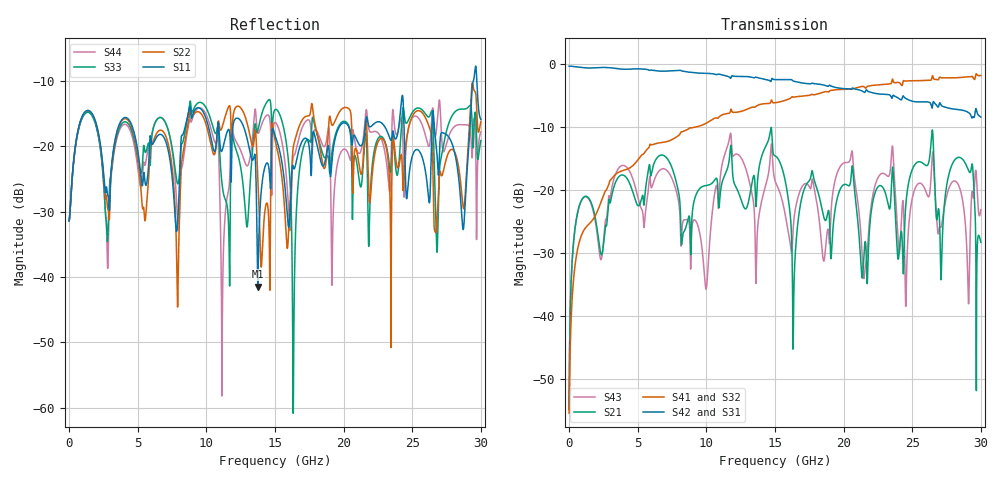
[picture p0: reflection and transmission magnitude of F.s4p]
!MTL model of F, calibrated on full-wave A (medium)
# Hz S RI R 50.0
!freq ReS11 ImS11 ReS12 ImS12 ReS13 ImS13
! ReS14 ImS14
! ReS21 ImS21 ReS22 ImS22 ReS23 ImS23
! ReS24 ImS24
! ReS31 ImS31 ReS32 ImS32 ReS33 ImS33
! ReS34 ImS34
! ReS41 ImS41 ReS42 ImS42 ReS43 ImS43
! ReS44 ImS44
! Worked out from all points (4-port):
!   3000 points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, 10 MHz to 30 GHz, reference 50 ohm
!   strongest paths, dB at 10 MHz, 7.51 GHz, 15.01 GHz, 22.51 GHz, 30 GHz:
!     S42: -0.4, -1.1, -2.5, -4.8, -8.5
!     S31: -0.4, -1.1, -2.6, -4.8, -8.4
!     S41: -55.4, -12.0, -6.2, -3.4, -1.9
!     S32: -55.4, -12.2, -6.3, -3.3, -1.9
!     S21: -54.9, -16.6, -14.6, -19.5, -28.3
!     S43: -54.8, -18.3, -18.6, -18.1, -23.2
!   lowest |S11| = -41.5 dB at 13.75 GHz (marker M1), VSWR 1.02, Z = 49.4 + j0.56 ohm
!   |S11| at or under -10 dB: start of sweep to 29.45 GHz; 29.7 GHz to end of sweep
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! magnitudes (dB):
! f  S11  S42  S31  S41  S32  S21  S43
! 10 MHz  -31.4  -0.4  -0.4  -55.4  -55.4  -54.9  -54.8
! 3.76 GHz  -16.2  -0.9  -0.9  -17.1  -17.0  -17.7  -16.3
! 11.18 GHz  -20.5  -1.8  -1.8  -8.1  -8.3  -18.6  -15.7
! 13.75 GHz  -41.5  -2.2  -2.2  -6.6  -6.7  -18.2  -25.8
! 16.37 GHz  -23.4  -2.8  -2.7  -5.3  -5.3  -37.2  -25.0
! 17.82 GHz  -17.8  -3.2  -3.2  -5.0  -5.1  -18.1  -19.3
! 30 GHz  -15.9  -8.5  -8.4  -1.9  -1.9  -28.3  -23.2
